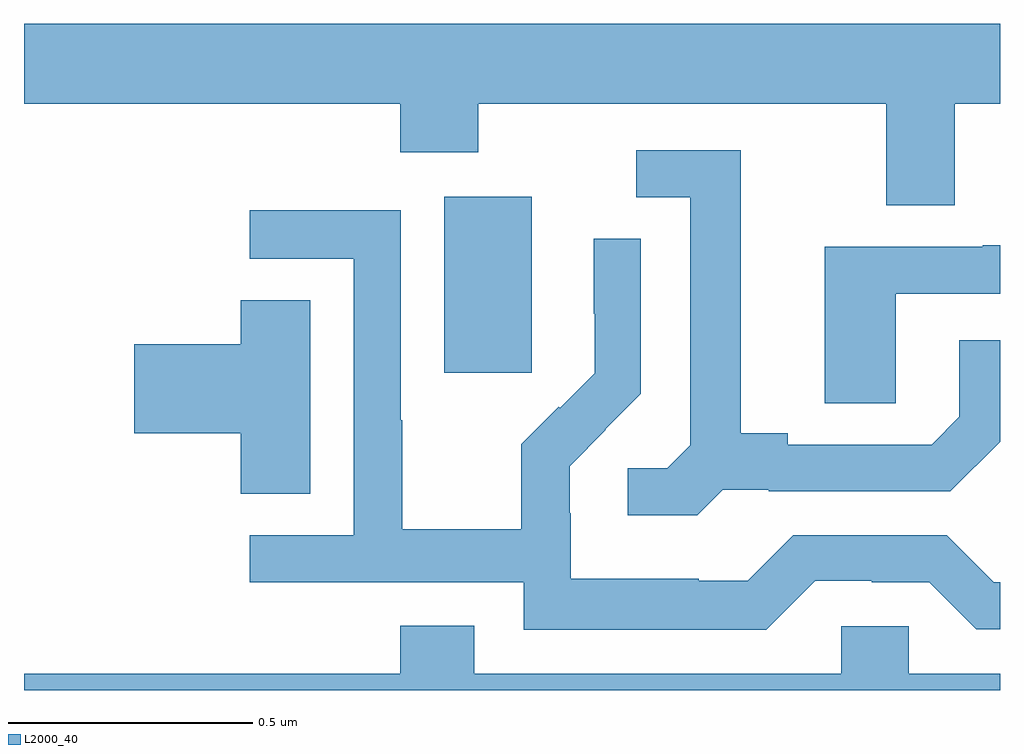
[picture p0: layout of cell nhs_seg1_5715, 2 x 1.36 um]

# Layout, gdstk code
import gdstk
lib = gdstk.Library(unit=1e-6, precision=1e-09)
def R(c, l, rs):  # rectangles x0, y0, x1, y1
    for r in rs: c.add(gdstk.rectangle(r[:2], r[2:], *l))
def P(c, l, *ps):  # polygons
    for p in ps: c.add(gdstk.Polygon(p, *l))
L2000_40 = (2000, 40)

nhs_seg1_5715 = lib.new_cell('nhs_seg1_5715')
R(nhs_seg1_5715, L2000_40, [(182.861,549.849,183.04,550.21)])
P(nhs_seg1_5715, L2000_40, [(183.907,550.4),(184,550.4),(184,550.564),(182,550.564),(182,550.4),(182.771,550.4),(182.771,550.301),(182.931,550.301),(182.931,550.4),(183.767,550.4),(183.767,550.192),(183.907,550.192)],
  [(183.432,549.609),(183.526,549.609),(183.526,549.606),(183.898,549.606),(184,549.708),(184,549.916),(183.917,549.916),(183.917,549.759),(183.86,549.702),(183.565,549.702),(183.565,549.725),(183.469,549.725),(183.469,550.305),(183.255,550.305),(183.255,550.209),(183.365,550.209),(183.365,549.701),(183.318,549.654),(183.237,549.654),(183.237,549.557),(183.38,549.557)],
  [(183.621,549.423),(183.737,549.423),(183.737,549.42),(183.855,549.42),(183.951,549.324),(184,549.324),(184,549.42),(183.987,549.42),(183.891,549.516),(183.576,549.516),(183.483,549.423),(183.383,549.423),(183.383,549.427),(183.12,549.427),(183.12,549.561),(183.118,549.561),(183.118,549.658),(183.192,549.732),(183.191,549.733),(183.264,549.806),(183.264,550.124),(183.168,550.124),(183.168,549.97),(183.17,549.97),(183.17,549.848),(183.099,549.777),(183.096,549.78),(183.019,549.703),(183.019,549.529),(182.775,549.529),(182.775,549.752),(182.772,549.752),(182.772,550.182),(182.463,550.182),(182.463,550.083),(182.676,550.083),(182.676,549.516),(182.463,549.516),(182.463,549.42),(183.024,549.42),(183.024,549.323),(183.521,549.323)],
  [(183.786,550.011),(184,550.011),(184,550.111),(183.965,550.111),(183.965,550.107),(183.641,550.107),(183.641,549.787),(183.786,549.787)],
  [(182.587,549.998),(182.444,549.998),(182.444,549.908),(182.226,549.908),(182.226,549.725),(182.444,549.725),(182.444,549.601),(182.587,549.601)],
  [(184,549.232),(183.813,549.232),(183.813,549.33),(183.675,549.33),(183.675,549.232),(182.923,549.232),(182.923,549.331),(182.771,549.331),(182.771,549.232),(182,549.232),(182,549.199),(184,549.199)])

lib.write_gds('nhs_seg1_5715.gds')
